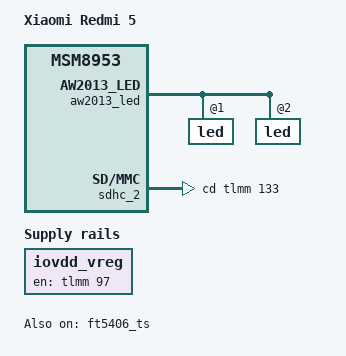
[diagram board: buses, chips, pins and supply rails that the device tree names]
// SPDX-License-Identifier: BSD-3-Clause
/dts-v1/;

#include "msm8953-xiaomi-common.dtsi"

/delete-node/ &cont_splash_mem;
/delete-node/ &qseecom_mem;

/ {
	model = "Xiaomi Redmi 5";
	compatible = "xiaomi,rosy", "qcom,msm8953";
	qcom,board-id = <11 1>;
	qcom,msm-id = <338 0>;

	aliases {
		mmc0 = &sdhc_1;
		mmc1 = &sdhc_2;
	};

	chosen {
		#address-cells = <2>;
		#size-cells = <2>;
		ranges;

		framebuffer@90001000 {
			compatible = "simple-framebuffer";
			reg = <0 0x90001000 0 (1440 * 720 * 3)>;

			width = <720>;
			height = <1440>;
			stride = <(720 * 3)>;
			format = "r8g8b8";

			power-domains = <&gcc MDSS_GDSC>;

			clocks = <&gcc GCC_MDSS_AHB_CLK>,
				 <&gcc GCC_MDSS_AXI_CLK>,
				 <&gcc GCC_MDSS_VSYNC_CLK>,
				 <&gcc GCC_MDSS_MDP_CLK>,
				 <&gcc GCC_MDSS_BYTE0_CLK>,
				 <&gcc GCC_MDSS_PCLK0_CLK>,
				 <&gcc GCC_MDSS_ESC0_CLK>;
		};
	};

	iovdd_vreg: iovdd_vreg {
		compatible = "regulator-fixed";
		regulator-name="iovdd_vreg";
		gpio = <&tlmm 97 GPIO_ACTIVE_HIGH>; 
		startup-delay-us = <300>;
		enable-active-high;
		regulator-boot-on;
	};

	reserved-memory {
		qseecom_mem: qseecom@84a00000 {
			reg = <0x0 0x84a00000 0x0 0x1900000>;
			no-map;
		};

		cont_splash_mem: cont-splash@90001000 {
			reg = <0x0 0x90001000 0x0 (1440 * 720 * 3)>;
			no-map;
		};

		ramoops@9ff00000 {
			compatible = "ramoops";
			reg = <0x0 0x9ff00000 0x0 0x00100000>;
			console-size = <0x100000>;
		};
	};
};

&aw2013_led {
	status = "okay";

	led@1 {
		reg = <1>;
		color = <LED_COLOR_ID_GREEN>;
		function = LED_FUNCTION_INDICATOR;
		led-max-microamp = <5000>;
	};

	led@2 {
		reg = <2>;
		color = <LED_COLOR_ID_BLUE>;
		function = LED_FUNCTION_INDICATOR;
		led-max-microamp = <5000>;
	};
};

&ft5406_ts {
	status = "okay";

	touchscreen-size-x = <720>;
	touchscreen-size-y = <1440>;

};

&sdhc_2 {
	cd-gpios = <&tlmm 133 GPIO_ACTIVE_HIGH>;
};

&tlmm {
	gpio-reserved-ranges = <0 4>, <135 4>;
};

&pmi8950_wled {
	qcom,external-pfet;
	qcom,cabc;
};
